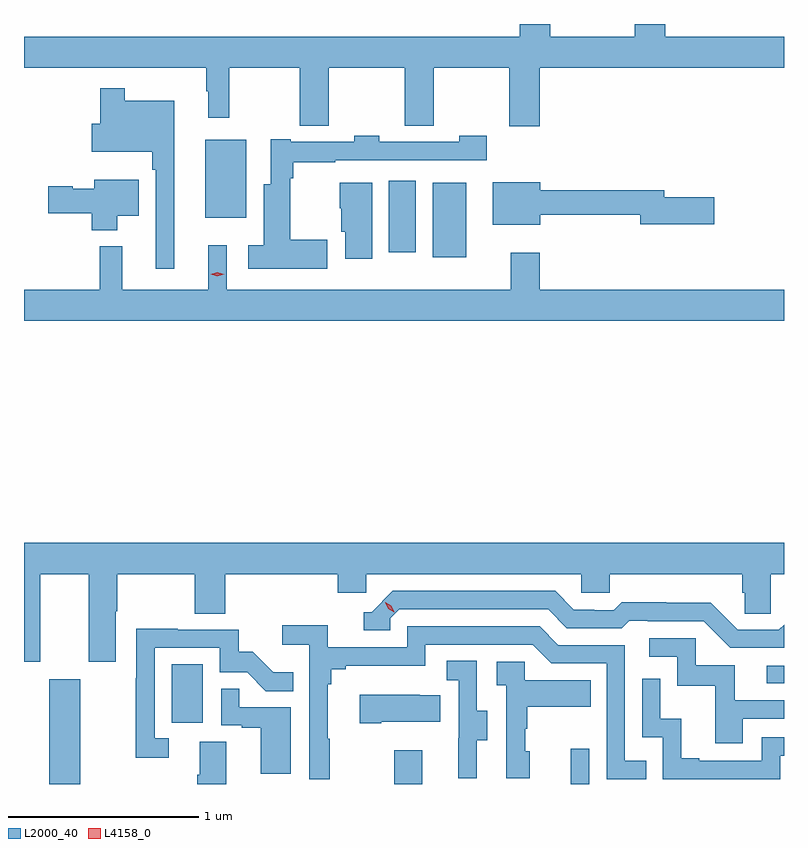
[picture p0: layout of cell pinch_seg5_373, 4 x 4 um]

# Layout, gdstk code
import gdstk
lib = gdstk.Library(unit=1e-6, precision=1e-09)
def R(c, l, rs):  # rectangles x0, y0, x1, y1
    for r in rs: c.add(gdstk.rectangle(r[:2], r[2:], *l))
def P(c, l, *ps):  # polygons
    for p in ps: c.add(gdstk.Polygon(p, *l))
L2000_40 = (2000, 40)
L4158_0 = (4158, 0)

pinch_seg5_373 = lib.new_cell('pinch_seg5_373')
R(pinch_seg5_373, L2000_40, [(951.887,886.291,952.051,886.843), (953.704,886.291,953.851,886.468), (954.632,886.291,954.729,886.477), (952.532,886.614,952.696,886.921), (955.665,886.821,955.755,886.914), (953.906,889.064,954.082,889.456), (953.675,889.089,953.818,889.465), (952.709,889.271,952.924,889.681)])
P(pinch_seg5_373, L2000_40, [(951.755,890.06),(952.713,890.06),(952.713,889.937),(952.724,889.937),(952.724,889.797),(952.834,889.797),(952.834,890.06),(953.206,890.06),(953.206,889.756),(953.36,889.756),(953.36,890.06),(953.758,890.06),(953.758,889.756),(953.912,889.756),(953.912,890.06),(954.31,890.06),(954.31,889.752),(954.47,889.752),(954.47,890.06),(955.755,890.06),(955.755,890.224),(955.13,890.224),(955.13,890.291),(954.97,890.291),(954.97,890.224),(954.525,890.224),(954.525,890.291),(954.365,890.291),(954.365,890.224),(951.755,890.224)],
  [(952.546,889.888),(952.285,889.888),(952.285,889.954),(952.156,889.954),(952.156,889.767),(952.112,889.767),(952.112,889.619),(952.429,889.619),(952.429,889.523),(952.449,889.523),(952.449,889.002),(952.546,889.002)],
  [(953.352,889.156),(953.156,889.156),(953.156,889.478),(953.171,889.478),(953.171,889.563),(953.393,889.563),(953.393,889.575),(954.19,889.575),(954.19,889.704),(954.045,889.704),(954.045,889.671),(953.625,889.671),(953.625,889.704),(953.493,889.704),(953.493,889.671),(953.158,889.671),(953.158,889.684),(953.054,889.684),(953.054,889.447),(953.018,889.447),(953.018,889.126),(952.935,889.126),(952.935,889.004),(953.352,889.004)],
  [(952.246,889.283),(952.36,889.283),(952.36,889.471),(952.124,889.471),(952.124,889.423),(952.011,889.423),(952.011,889.436),(951.882,889.436),(951.882,889.294),(952.112,889.294),(952.112,889.205),(952.246,889.205)],
  [(954.472,889.287),(954.998,889.287),(954.998,889.237),(955.387,889.237),(955.387,889.379),(955.126,889.379),(955.126,889.415),(954.472,889.415),(954.472,889.459),(954.221,889.459),(954.221,889.235),(954.472,889.235)],
  [(953.587,889.456),(953.417,889.456),(953.417,889.32),(953.424,889.32),(953.424,889.197),(953.447,889.197),(953.447,889.056),(953.587,889.056)],
  [(955.755,888.892),(954.47,888.892),(954.47,889.087),(954.317,889.087),(954.317,888.892),(952.821,888.892),(952.821,889.126),(952.724,889.126),(952.724,888.892),(952.271,888.892),(952.271,889.12),(952.153,889.12),(952.153,888.892),(951.755,888.892),(951.755,888.728),(955.755,888.728)],
  [(951.841,887.396),(952.097,887.396),(952.097,886.935),(952.237,886.935),(952.237,887.2),(952.245,887.2),(952.245,887.396),(952.654,887.396),(952.654,887.188),(952.814,887.188),(952.814,887.396),(953.405,887.396),(953.405,887.298),(953.556,887.298),(953.556,887.396),(954.687,887.396),(954.687,887.298),(954.837,887.298),(954.837,887.396),(955.535,887.396),(955.535,887.298),(955.549,887.298),(955.549,887.188),(955.686,887.188),(955.686,887.396),(955.755,887.396),(955.755,887.56),(951.755,887.56),(951.755,886.935),(951.841,886.935)],
  [(955.755,887.13),(955.728,887.103),(955.512,887.103),(955.37,887.245),(955.134,887.245),(955.134,887.248),(954.901,887.248),(954.859,887.205),(954.756,887.205),(954.756,887.208),(954.649,887.208),(954.55,887.307),(953.697,887.307),(953.586,887.196),(953.543,887.196),(953.543,887.1),(953.682,887.1),(953.682,887.163),(953.73,887.211),(954.513,887.211),(954.612,887.112),(954.901,887.112),(954.94,887.151),(955.039,887.151),(955.039,887.148),(955.332,887.148),(955.473,887.007),(955.755,887.007)],
  [(953.365,886.529),(953.353,886.529),(953.353,886.817),(953.372,886.817),(953.372,886.894),(953.449,886.894),(953.449,886.913),(953.868,886.913),(953.868,887.025),(954.432,887.025),(954.531,886.926),(954.822,886.926),(954.822,886.317),(955.031,886.317),(955.031,886.413),(954.918,886.413),(954.918,887.022),(954.568,887.022),(954.469,887.121),(953.772,887.121),(953.772,887.01),(953.354,887.01),(953.354,887.126),(953.115,887.126),(953.115,887.024),(953.256,887.024),(953.256,886.317),(953.365,886.317)],
  [(952.516,886.533),(952.443,886.533),(952.443,887.007),(952.785,887.007),(952.785,886.878),(952.929,886.878),(953.027,886.78),(953.171,886.78),(953.171,886.879),(953.067,886.879),(952.96,886.986),(952.884,886.986),(952.884,887.103),(952.565,887.103),(952.565,887.108),(952.347,887.108),(952.347,886.847),(952.342,886.847),(952.342,886.428),(952.516,886.428)],
  [(955.537,886.635),(955.755,886.635),(955.755,886.731),(955.495,886.731),(955.495,886.917),(955.29,886.917),(955.29,887.058),(955.047,887.058),(955.047,886.962),(955.194,886.962),(955.194,886.809),(955.393,886.809),(955.393,886.506),(955.537,886.506)],
  [(954.139,886.522),(954.193,886.522),(954.193,886.677),(954.138,886.677),(954.138,886.94),(953.979,886.94),(953.979,886.837),(954.042,886.837),(954.042,886.533),(954.041,886.533),(954.041,886.32),(954.139,886.32)],
  [(954.418,886.464),(954.393,886.464),(954.393,886.583),(954.403,886.583),(954.403,886.697),(954.737,886.697),(954.737,886.837),(954.39,886.837),(954.39,886.935),(954.243,886.935),(954.243,886.811),(954.294,886.811),(954.294,886.32),(954.418,886.32)],
  [(955.734,886.44),(955.755,886.44),(955.755,886.536),(955.638,886.536),(955.638,886.413),(955.309,886.413),(955.309,886.426),(955.214,886.426),(955.214,886.634),(955.104,886.634),(955.104,886.846),(955.008,886.846),(955.008,886.536),(955.116,886.536),(955.116,886.317),(955.734,886.317)],
  [(953.158,886.695),(952.889,886.695),(952.889,886.793),(952.794,886.793),(952.794,886.599),(952.901,886.599),(952.901,886.587),(953,886.587),(953,886.344),(953.158,886.344)],
  [(953.635,886.619),(953.945,886.619),(953.945,886.759),(953.837,886.759),(953.837,886.762),(953.523,886.762),(953.523,886.612),(953.635,886.612)],
  [(952.819,886.514),(952.679,886.514),(952.679,886.34),(952.667,886.34),(952.667,886.291),(952.819,886.291)])
P(pinch_seg5_373, L4158_0, [(953.704,887.195),(953.673,887.214),(953.656,887.247),(953.656,887.247),(953.656,887.247),(953.688,887.228),(953.704,887.195),(953.704,887.195)],
  [(952.773,888.964),(952.737,888.974),(952.737,888.975),(952.737,888.975),(952.773,888.984),(952.808,888.973),(952.809,888.973),(952.808,888.973)])

lib.write_gds('pinch_seg5_373.gds')
